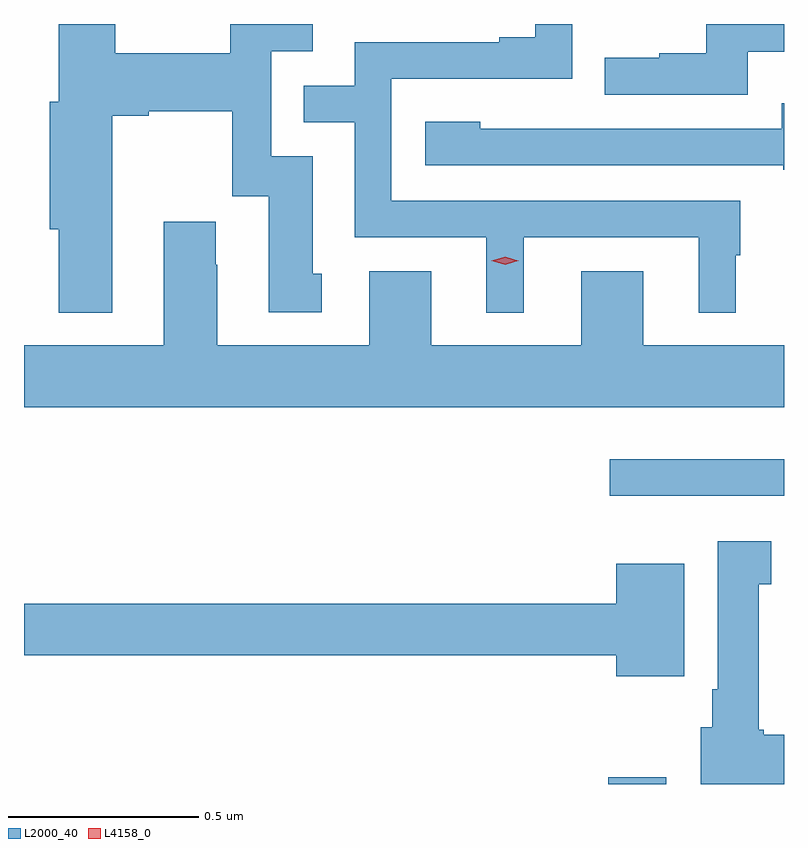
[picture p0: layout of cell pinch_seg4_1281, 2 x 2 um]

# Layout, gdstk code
import gdstk
lib = gdstk.Library(unit=1e-6, precision=1e-09)
def R(c, l, rs):  # rectangles x0, y0, x1, y1
    for r in rs: c.add(gdstk.rectangle(r[:2], r[2:], *l))
def P(c, l, *ps):  # polygons
    for p in ps: c.add(gdstk.Polygon(p, *l))
L2000_40 = (2000, 40)
L4158_0 = (4158, 0)

pinch_seg4_1281 = lib.new_cell('pinch_seg4_1281')
R(pinch_seg4_1281, L2000_40, [(256.787,774.517,256.939,774.535), (256.791,775.275,257.249,775.372)])
P(pinch_seg4_1281, L2000_40, [(256.564,775.956),(257.024,775.956),(257.024,775.757),(257.122,775.757),(257.122,775.908),(257.134,775.908),(257.134,776.052),(256.215,776.052),(256.215,776.373),(256.692,776.373),(256.692,776.517),(256.594,776.517),(256.594,776.482),(256.499,776.482),(256.499,776.469),(256.119,776.469),(256.119,776.355),(255.985,776.355),(255.985,776.259),(256.119,776.259),(256.119,775.956),(256.466,775.956),(256.466,775.757),(256.564,775.757)],
  [(257.154,776.444),(257.249,776.444),(257.249,776.517),(257.045,776.517),(257.045,776.44),(256.921,776.44),(256.921,776.428),(256.777,776.428),(256.777,776.331),(257.154,776.331)],
  [(255.481,776.276),(255.577,776.276),(255.577,776.288),(255.797,776.288),(255.797,776.064),(255.893,776.064),(255.893,775.758),(256.033,775.758),(256.033,775.86),(256.009,775.86),(256.009,776.169),(255.9,776.169),(255.9,776.445),(256.009,776.445),(256.009,776.517),(255.792,776.517),(255.792,776.44),(255.489,776.44),(255.489,776.517),(255.341,776.517),(255.341,776.313),(255.317,776.313),(255.317,775.977),(255.341,775.977),(255.341,775.757),(255.481,775.757)],
  [(257.249,776.308),(257.243,776.308),(257.243,776.241),(256.685,776.241),(256.685,776.242),(256.449,776.242),(256.449,776.26),(256.305,776.26),(256.305,776.145),(257.247,776.145),(257.247,776.133),(257.249,776.133)],
  [(257.249,775.672),(256.879,775.672),(256.879,775.867),(256.715,775.867),(256.715,775.672),(256.321,775.672),(256.321,775.867),(256.157,775.867),(256.157,775.672),(255.757,775.672),(255.757,775.883),(255.754,775.883),(255.754,775.996),(255.617,775.996),(255.617,775.672),(255.249,775.672),(255.249,775.508),(257.249,775.508)],
  [(257.249,774.646),(257.196,774.646),(257.196,774.66),(257.182,774.66),(257.182,775.043),(257.215,775.043),(257.215,775.156),(257.075,775.156),(257.075,774.766),(257.06,774.766),(257.06,774.666),(257.03,774.666),(257.03,774.517),(257.249,774.517)],
  [(256.987,775.096),(256.808,775.096),(256.808,774.992),(255.249,774.992),(255.249,774.856),(256.808,774.856),(256.808,774.8),(256.987,774.8)])
P(pinch_seg4_1281, L4158_0, [(256.515,775.884),(256.479,775.894),(256.479,775.894),(256.479,775.894),(256.515,775.904),(256.55,775.894),(256.551,775.894),(256.55,775.894)])

lib.write_gds('pinch_seg4_1281.gds')
